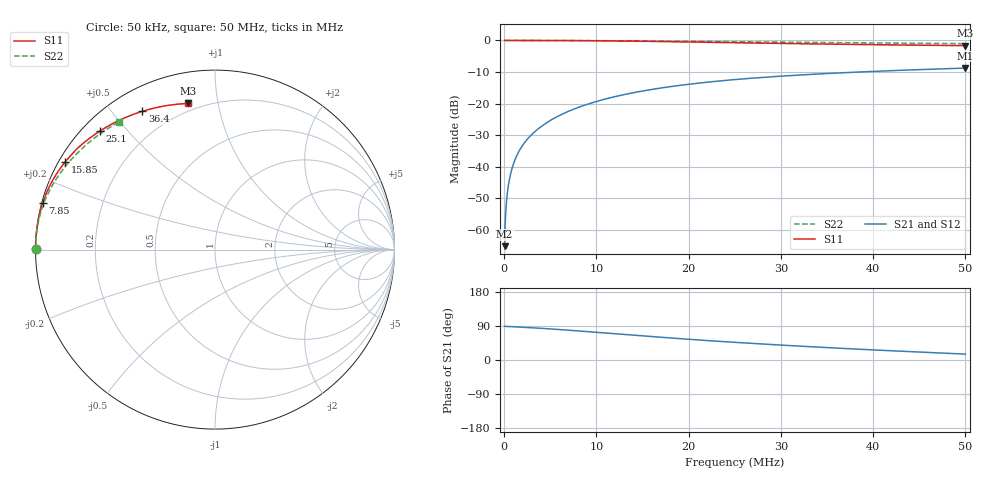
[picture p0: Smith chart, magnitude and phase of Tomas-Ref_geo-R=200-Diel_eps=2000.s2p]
! TOUCHSTONE file generated by CST MICROWAVE STUDIO
! Date and time: Fri Oct 07 08:24:58 2016
! Project name: tomas_icrh_linear_2016-plasma-Rdiel=200.cst
! Header version: 2015
! Port assignment regex: !\s*Touchstone port\s*([0-9]+)\s*=\s*CST MWS port\s*([0-9]+)\s*\(\"(.*)\"\)(\s*mode\s*([0-9]+))?.*
! Touchstone port assignment:
! Touchstone port 1 = CST MWS port 1 ("")
! Touchstone port 2 = CST MWS port 2 ("")
# MHZ S MA R 50
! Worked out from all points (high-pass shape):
!   1000 points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, 50 kHz to 50 MHz, reference 50 ohm
!   highest |S21| = -8.75 dB at 50 MHz (marker M1); lowest = -65.1 dB at 50 kHz (marker M2)
!   |S21| within 3 dB of the highest: 27.76 MHz to end of sweep
!   lowest |S11| = -1.6 dB at 50 MHz (marker M3), VSWR 10.60, Z = 7.95 + j41.1 ohm
!   |S11| at or under -10 dB: nowhere
!   |S22| runs from -1.0 to 0.0 dB; largest |S21 - S12| = 1.1e-06
!   S11 on the Smith chart (normalised r, x): 50 kHz: 0.00, +0.00; 7.85 MHz: 0.00, +0.13; 15.85 MHz: 0.02, +0.27; 25.1 MHz: 0.05, +0.42; 36.4 MHz: 0.09, +0.60; 50 MHz: 0.16, +0.82
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0.05  1 179.9  0.0005543 89.2  0.0005543 89.2  1 179.9
0.15  1 179.7  0.001663 88.8  0.001663 88.8  1 179.8
0.4  1 179.2  0.004425 88.5  0.004425 88.5  1 179.5
0.6  0.9999 178.8  0.006625 88.2  0.006625 88.2  1 179.3
0.8  0.9999 178.4  0.008818 88.0  0.008818 88.0  0.9999 179.0
1.05  0.9998 177.9  0.01155 87.7  0.01155 87.7  0.9999 178.7
1.35  0.9998 177.4  0.01481 87.3  0.01481 87.3  0.9999 178.3
1.75  0.9997 176.6  0.01915 86.8  0.01915 86.8  0.9998 177.8
2.75  0.9994 174.7  0.02989 85.4  0.02989 85.4  0.9995 176.6
4.05  0.9988 172.2  0.04373 83.5  0.04373 83.5  0.9989 175.1
5.75  0.9975 168.9  0.06226 80.8  0.06226 80.8  0.9978 173.0
7.85  0.9946 164.8  0.0851 77.1  0.0851 77.1  0.9957 170.5
8.4  0.9935 163.8  0.09104 76.1  0.09104 76.1  0.995 169.8
11.75  0.9842 157.3  0.1263 69.8  0.1263 69.8  0.9898 165.8
15.85  0.9671 149.7  0.1663 62.1  0.1663 62.1  0.9802 161.0
16.7  0.9631 148.2  0.1741 60.5  0.1741 60.5  0.978 160.0
25.05  0.9208 134.2  0.2408 46.5  0.2408 46.5  0.9536 150.8
25.1  0.9205 134.1  0.2411 46.5  0.2411 46.5  0.9534 150.8
33.35  0.8823 121.9  0.2909 34.8  0.2909 34.8  0.9294 142.4
36.4  0.8702 117.7  0.3066 31.0  0.3066 31.0  0.9212 139.4
41.7  0.8515 110.7  0.3313 24.7  0.3313 24.7  0.9079 134.4
50  0.8276 100.3  0.3651 15.6  0.3651 15.6  0.8893 126.9
